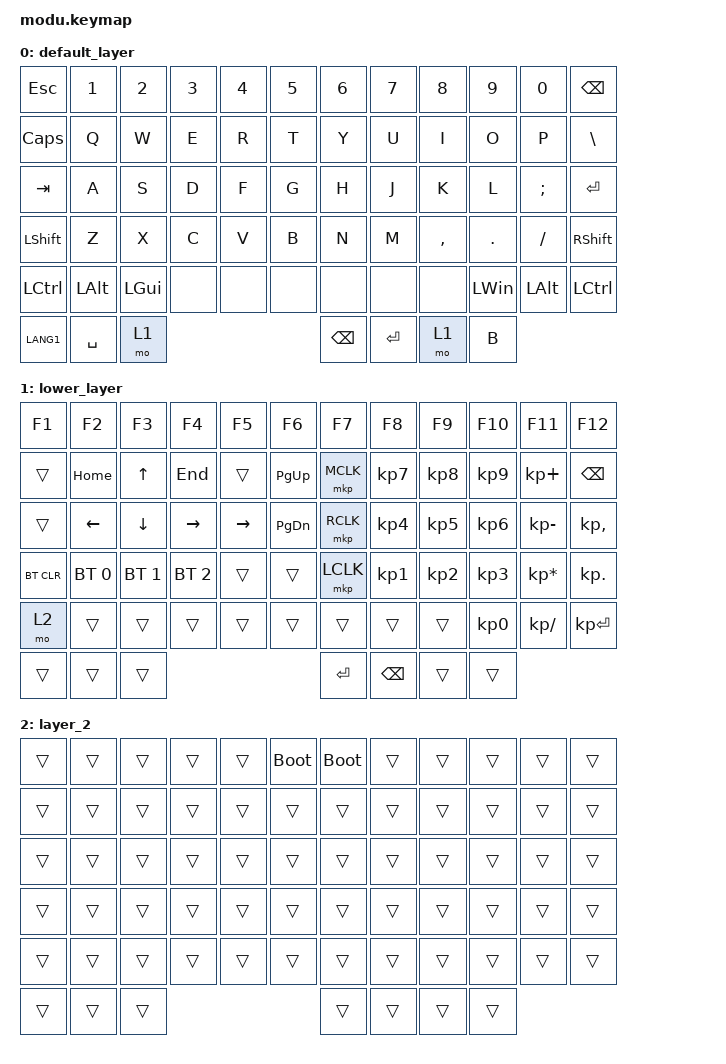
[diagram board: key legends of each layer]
/*
 * Copyright (c) 2026 EKS Inc.
 * Created by Ryu.
 * SPDX-License-Identifier: LicenseRef-EKS-NonCommercial-1.0
 *
 * Unofficial modification, based on upstream commit
 * bee0bb4b812f63f279eb67e928accc89600b5904 and customized through
 * Keymap Editor for GitHub Actions builds.
 */

#include <behaviors.dtsi>
#include <dt-bindings/zmk/bt.h>
#include <dt-bindings/zmk/keys.h>
#include <dt-bindings/zmk/pointing.h>

/ {
    combos {
        compatible = "zmk,combos";

        reset {
            bindings = <&sys_reset>;
            key-positions = <48 5 6>;
            layers = <1>;
        };
    };

    keymap {
        compatible = "zmk,keymap";

        default_layer {
            // -----------------------------------------------------------------
            // |ESC | 1  | 2  | 3  | 4  | 5  |   | 6  | 7  | 8  | 9  | 0  |DEL |
            // |TAB | Q  | W  | E  | R  | T  |   | Y  | U  | I  | O  | P  |HOME|
            // |CAPS| A  | S  | D  | F  | G  |   | H  | J  | K  | L  | ;  |PGUP|
            // |LSFT| Z  | X  | C  | V  | B  |   | N  | M  | ,  | .  | /  |PGDN|
            // |LCTL|LALT|LGUI|                                 |RALT|RCTL|END |
            //                |LANG|SPC |MO1 |   |BSPC|RET |MO1 | B  |

            bindings = <
&kp ESC       &kp N1     &kp N2    &kp N3  &kp N4  &kp N5  &kp N6    &kp N7   &kp N8     &kp N9        &kp N0    &kp BACKSPACE
&kp CAPSLOCK  &kp Q      &kp W     &kp E   &kp R   &kp T   &kp Y     &kp U    &kp I      &kp O         &kp P     &kp BACKSLASH
&kp TAB       &kp A      &kp S     &kp D   &kp F   &kp G   &kp H     &kp J    &kp K      &kp L         &kp SEMI  &kp RET
&kp LSHFT     &kp Z      &kp X     &kp C   &kp V   &kp B   &kp N     &kp M    &kp COMMA  &kp DOT       &kp FSLH  &kp RIGHT_SHIFT
&kp LCTRL     &kp LALT   &kp LGUI  &none   &none   &none   &none     &none    &none      &kp LEFT_WIN  &kp LALT  &kp LEFT_CONTROL
&kp LANG1     &kp SPACE  &mo 1                             &kp BSPC  &kp RET  &mo 1      &kp B
            >;
        };

        lower_layer {
            bindings = <
&kp F1      &kp F2        &kp F3        &kp F4        &kp F5           &kp F6         &kp F7     &kp F8         &kp F9     &kp F10    &kp F11          &kp F12
&trans      &kp HOME      &kp UP        &kp END       &trans           &kp PG_UP      &mkp MCLK  &kp KP_N7      &kp KP_N8  &kp KP_N9  &kp KP_PLUS      &kp BSPC
&trans      &kp LEFT      &kp DOWN      &kp RIGHT     &kp RIGHT_ARROW  &kp PAGE_DOWN  &mkp RCLK  &kp KP_N4      &kp KP_N5  &kp KP_N6  &kp KP_MINUS     &kp KP_COMMA
&bt BT_CLR  &bt BT_SEL 0  &bt BT_SEL 1  &bt BT_SEL 2  &trans           &trans         &mkp LCLK  &kp KP_N1      &kp KP_N2  &kp KP_N3  &kp KP_MULTIPLY  &kp KP_DOT
&mo 2       &trans        &trans        &trans        &trans           &trans         &trans     &trans         &trans     &kp KP_N0  &kp KP_DIVIDE    &kp KP_ENTER
&trans      &trans        &trans                                                      &kp ENTER  &kp BACKSPACE  &trans     &trans
            >;
        };

        layer_2 {
            bindings = <
&trans  &trans  &trans  &trans  &trans  &bootloader  &bootloader  &trans  &trans  &trans  &trans  &trans
&trans  &trans  &trans  &trans  &trans  &trans       &trans       &trans  &trans  &trans  &trans  &trans
&trans  &trans  &trans  &trans  &trans  &trans       &trans       &trans  &trans  &trans  &trans  &trans
&trans  &trans  &trans  &trans  &trans  &trans       &trans       &trans  &trans  &trans  &trans  &trans
&trans  &trans  &trans  &trans  &trans  &trans       &trans       &trans  &trans  &trans  &trans  &trans
&trans  &trans  &trans                               &trans       &trans  &trans  &trans
            >;
        };
    };
};
